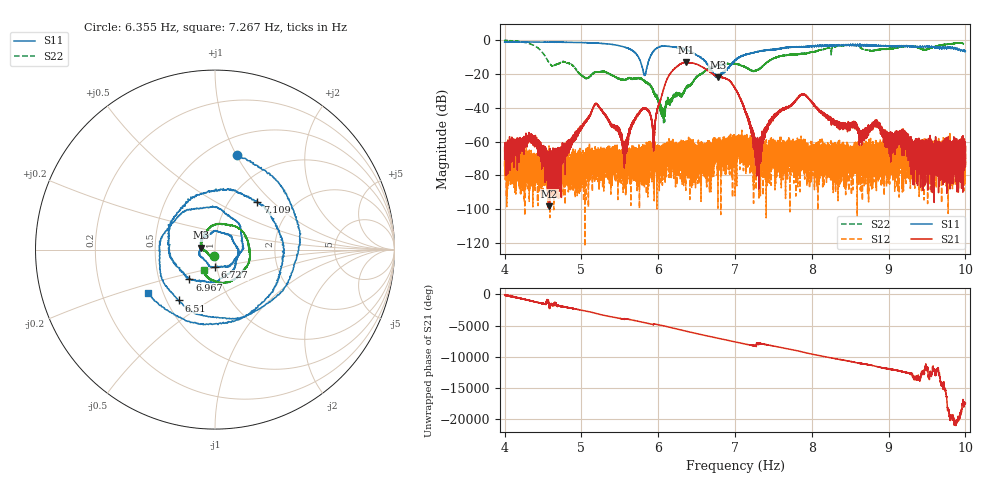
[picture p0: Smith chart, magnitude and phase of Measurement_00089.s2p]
!Created with skrf (http://scikit-rf.org).
# Hz S RI R 50.0
!freq ReS11 ImS11 ReS21 ImS21 ReS12 ImS12 ReS22 ImS22
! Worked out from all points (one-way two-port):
!   14001 points, 4 Hz to 10 Hz, reference 50 ohm
!   highest |S21| = -13.09 dB at 6.361 Hz (marker M1); lowest = -98.2 dB at 4.583 Hz (marker M2)
!   lowest |S11| = -22.0 dB at 6.777 Hz (marker M3), VSWR 1.17, Z = 42.7 + j0.972 ohm
!   |S11| at or under -10 dB: 5.742 Hz to 5.895 Hz (152.9 mHz wide, 2.63 % of centre); 6.541 Hz to 7.052 Hz (510.6 mHz wide, 7.51 % of centre); 7.052458 Hz to 7.054922 Hz (2.464 mHz wide, 0.0349 % of centre) (the widest 3 of 9)
!   |S22| runs from -48.9 to -0.2 dB; largest |S21 - S12| = 0.22
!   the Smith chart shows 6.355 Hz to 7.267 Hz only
!   S11 on the Smith chart (normalised r, x): 6.355 Hz: 0.68, +1.00; 6.51 Hz: 0.58, -0.37; 6.727 Hz: 0.98, -0.19; 6.967 Hz: 0.71, -0.25; 7.109 Hz: 1.34, +0.81; 7.267 Hz: 0.41, -0.25
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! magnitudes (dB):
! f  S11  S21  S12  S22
! 4 Hz  -1.1  -63.4  -74.8  -0.3
! 4.343 Hz  -1.1  -58.6  -73.0  -2.4
! 4.583 Hz  -1.2  -98.2  -66.1  -13.6
! 5 Hz  -1.4  -51.6  -66.6  -20.8
! 5.202 Hz  -1.7  -38.0  -71.8  -18.8
! 5.565 Hz  -4.1  -68.8  -78.5  -23.6
! 5.823 Hz  -20.6  -40.5  -71.0  -24.1
! 5.939 Hz  -6.6  -61.1  -64.2  -29.7
! 6 Hz  -4.2  -39.1  -66.9  -34.3
! 6.355 Hz  -5.3  -13.1  -59.4  -29.0
! 6.361 Hz  -5.5  -13.1  -65.7  -28.2
! 6.51 Hz  -9.2  -14.4  -62.5  -21.7
! 6.727 Hz  -20.3  -20.5  -69.3  -15.7
! 6.777 Hz  -22.0  -21.6  -61.1  -14.6
! 6.967 Hz  -13.2  -26.1  -58.8  -14.2
! 7 Hz  -12.0  -28.7  -61.2  -14.0
! 7.109 Hz  -9.0  -38.8  -57.7  -15.5
! 7.267 Hz  -7.0  -60.1  -66.6  -17.8
! 7.59 Hz  -4.9  -42.1  -64.1  -9.5
! 8 Hz  -3.8  -36.6  -60.1  -6.9
! 9 Hz  -3.6  -57.5  -64.6  -5.0
! 10 Hz  -6.6  -73.3  -74.8  -3.1
